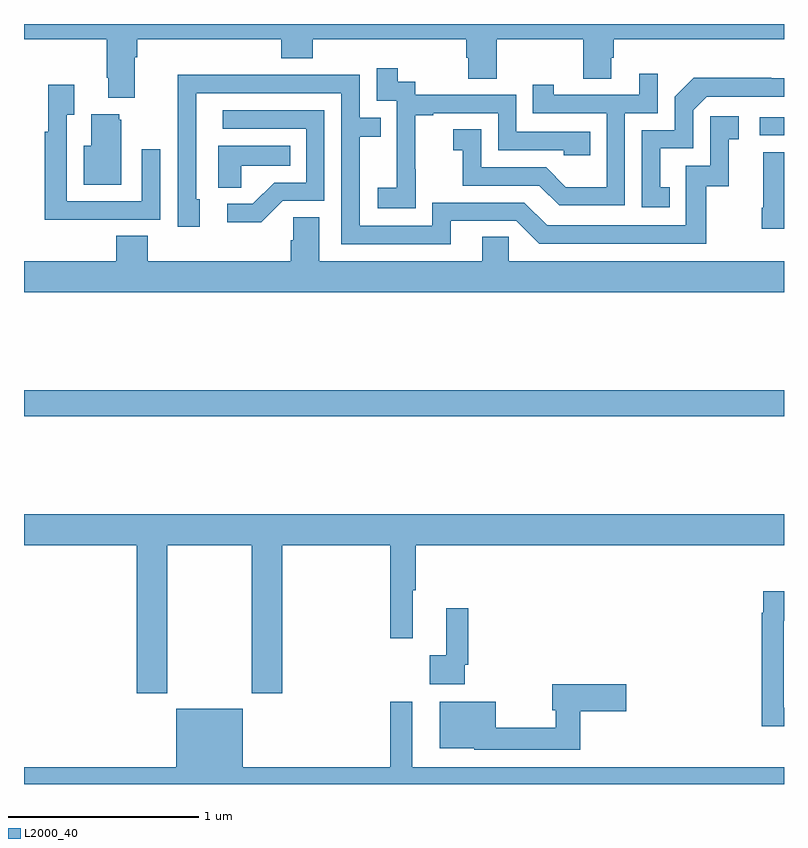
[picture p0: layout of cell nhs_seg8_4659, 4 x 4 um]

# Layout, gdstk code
import gdstk
lib = gdstk.Library(unit=1e-6, precision=1e-09)
def R(c, l, rs):  # rectangles x0, y0, x1, y1
    for r in rs: c.add(gdstk.rectangle(r[:2], r[2:], *l))
def P(c, l, *ps):  # polygons
    for p in ps: c.add(gdstk.Polygon(p, *l))
L2000_40 = (2000, 40)

nhs_seg8_4659 = lib.new_cell('nhs_seg8_4659')
R(nhs_seg8_4659, L2000_40, [(393,1127.836,397,1127.972), (396.873,1129.314,397,1129.41)])
P(nhs_seg8_4659, L2000_40, [(393.583,1129.724),(393.596,1129.724),(393.596,1129.82),(394.355,1129.82),(394.355,1129.721),(394.52,1129.721),(394.52,1129.82),(395.327,1129.82),(395.327,1129.722),(395.339,1129.722),(395.339,1129.612),(395.487,1129.612),(395.487,1129.82),(395.944,1129.82),(395.944,1129.612),(396.091,1129.612),(396.091,1129.722),(396.104,1129.722),(396.104,1129.82),(397,1129.82),(397,1129.9),(393,1129.9),(393,1129.82),(393.436,1129.82),(393.436,1129.618),(393.443,1129.618),(393.443,1129.511),(393.583,1129.511)],
  [(395.061,1129.135),(395.06,1129.135),(395.06,1129.419),(395.155,1129.419),(395.155,1129.431),(395.496,1129.431),(395.496,1129.236),(395.841,1129.236),(395.841,1129.209),(395.981,1129.209),(395.981,1129.332),(395.592,1129.332),(395.592,1129.527),(395.058,1129.527),(395.058,1129.596),(394.966,1129.596),(394.966,1129.666),(394.857,1129.666),(394.857,1129.497),(394.962,1129.497),(394.962,1129.268),(394.961,1129.268),(394.961,1129.039),(394.863,1129.039),(394.863,1128.929),(395.061,1128.929)],
  [(396.162,1129.431),(396.336,1129.431),(396.336,1129.639),(396.239,1129.639),(396.239,1129.527),(395.788,1129.527),(395.788,1129.579),(395.677,1129.579),(395.677,1129.431),(396.066,1129.431),(396.066,1129.042),(395.852,1129.042),(395.748,1129.146),(395.406,1129.146),(395.406,1129.345),(395.259,1129.345),(395.259,1129.235),(395.308,1129.235),(395.308,1129.05),(395.711,1129.05),(395.816,1128.945),(396.162,1128.945)],
  [(395.245,1128.864),(395.592,1128.864),(395.712,1128.744),(396.592,1128.744),(396.592,1129.047),(396.71,1129.047),(396.71,1129.293),(396.763,1129.293),(396.763,1129.414),(396.612,1129.414),(396.612,1129.155),(396.483,1129.155),(396.483,1128.84),(395.754,1128.84),(395.634,1128.96),(395.148,1128.96),(395.148,1128.837),(394.767,1128.837),(394.767,1129.306),(394.877,1129.306),(394.877,1129.407),(394.767,1129.407),(394.767,1129.632),(394.271,1129.632),(394.271,1129.634),(393.808,1129.634),(393.808,1129.327),(393.81,1129.327),(393.81,1128.834),(393.925,1128.834),(393.925,1128.978),(393.906,1128.978),(393.906,1129.536),(394.671,1129.536),(394.671,1128.741),(395.245,1128.741)],
  [(396.398,1129.041),(396.349,1129.041),(396.349,1129.245),(396.522,1129.245),(396.522,1129.446),(396.594,1129.518),(397,1129.518),(397,1129.614),(396.932,1129.614),(396.932,1129.616),(396.524,1129.616),(396.426,1129.518),(396.426,1129.341),(396.252,1129.341),(396.252,1128.936),(396.398,1128.936)],
  [(393.401,1128.87),(393.717,1128.87),(393.717,1129.24),(393.621,1129.24),(393.621,1128.966),(393.225,1128.966),(393.225,1129.423),(393.265,1129.423),(393.265,1129.579),(393.128,1129.579),(393.128,1129.334),(393.109,1129.334),(393.109,1128.869),(393.401,1128.869)],
  [(394.362,1128.969),(394.581,1128.969),(394.581,1129.446),(394.047,1129.446),(394.047,1129.35),(394.485,1129.35),(394.485,1129.065),(394.316,1129.065),(394.205,1128.954),(394.071,1128.954),(394.071,1128.857),(394.249,1128.857)],
  [(393.511,1129.395),(393.5,1129.395),(393.5,1129.426),(393.353,1129.426),(393.353,1129.258),(393.314,1129.258),(393.314,1129.055),(393.511,1129.055)],
  [(394.143,1129.154),(394.4,1129.154),(394.4,1129.258),(394.022,1129.258),(394.022,1129.039),(394.143,1129.039)],
  [(397,1129.225),(396.89,1129.225),(396.89,1128.934),(396.883,1128.934),(396.883,1128.822),(397,1128.822)],
  [(397,1128.652),(395.55,1128.652),(395.55,1128.779),(395.411,1128.779),(395.411,1128.652),(394.555,1128.652),(394.555,1128.884),(394.416,1128.884),(394.416,1128.761),(394.403,1128.761),(394.403,1128.652),(393.65,1128.652),(393.65,1128.785),(393.485,1128.785),(393.485,1128.652),(393,1128.652),(393,1128.488),(397,1128.488)],
  [(393.753,1127.156),(394.198,1127.156),(394.198,1126.377),(394.358,1126.377),(394.358,1127.156),(394.927,1127.156),(394.927,1126.668),(395.045,1126.668),(395.045,1126.92),(395.063,1126.92),(395.063,1127.156),(397,1127.156),(397,1127.32),(393,1127.32),(393,1127.156),(393.593,1127.156),(393.593,1126.377),(393.753,1126.377)],
  [(397,1126.302),(396.999,1126.302),(396.999,1126.759),(397,1126.759),(397,1126.915),(396.891,1126.915),(396.891,1126.802),(396.883,1126.802),(396.883,1126.205),(397,1126.205)],
  [(395.319,1126.528),(395.339,1126.528),(395.339,1126.825),(395.222,1126.825),(395.222,1126.577),(395.136,1126.577),(395.136,1126.424),(395.319,1126.424)],
  [(395.927,1126.282),(396.169,1126.282),(396.169,1126.424),(395.78,1126.424),(395.78,1126.289),(395.799,1126.289),(395.799,1126.196),(395.482,1126.196),(395.482,1126.333),(395.189,1126.333),(395.189,1126.088),(395.37,1126.088),(395.37,1126.08),(395.927,1126.08)],
  [(397,1125.988),(395.044,1125.988),(395.044,1126.333),(394.927,1126.333),(394.927,1125.988),(394.15,1125.988),(394.15,1126.297),(393.8,1126.297),(393.8,1125.988),(393,1125.988),(393,1125.9),(397,1125.9)])

lib.write_gds('nhs_seg8_4659.gds')
